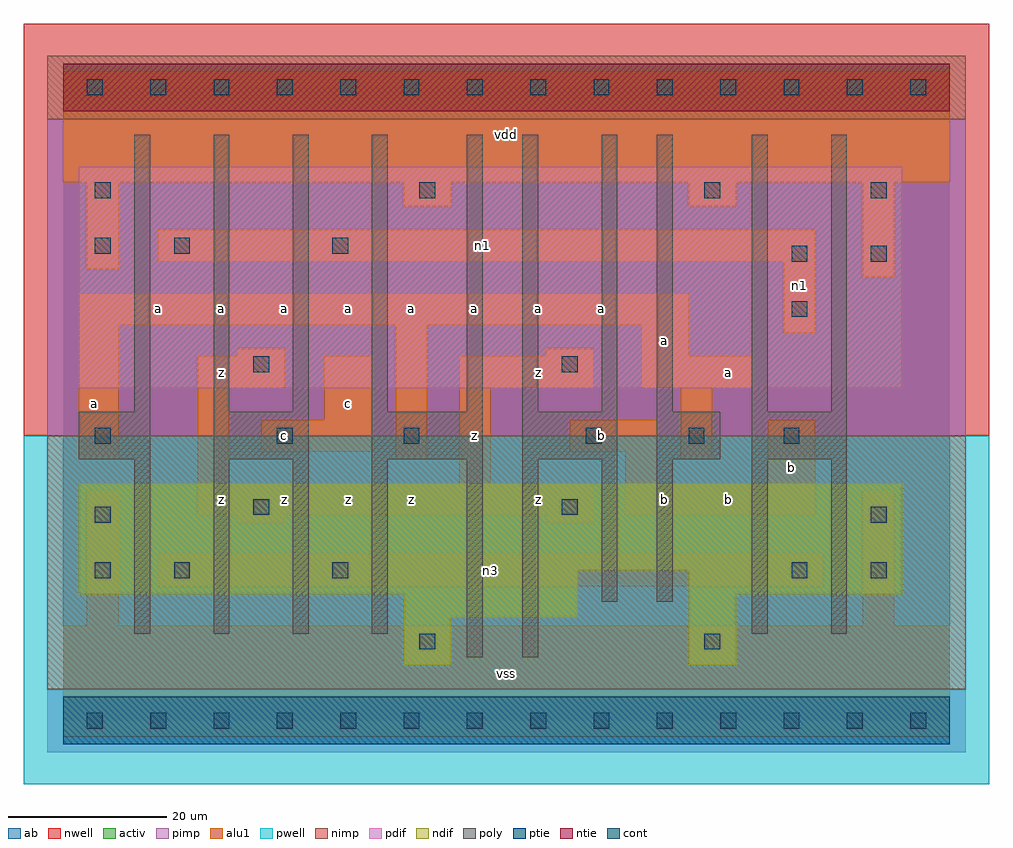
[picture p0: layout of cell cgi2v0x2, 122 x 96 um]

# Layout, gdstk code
import gdstk
lib = gdstk.Library(unit=1e-6, precision=1e-09)
def R(c, l, rs):  # rectangles x0, y0, x1, y1
    for r in rs: c.add(gdstk.rectangle(r[:2], r[2:], *l))
def A(c, l, x, y, w, h, nx, ny, dx, dy):  # array of equal rectangles
    R(c, l, [(x+i*dx, y+j*dy, x+i*dx+w, y+j*dy+h) for i in range(nx) for j in range(ny)])
ndif = (3, 0)
pdif = (4, 0)
ntie = (5, 0)
ptie = (6, 0)
cont = (25, 0)
pwell = (41, 0)
nwell = (42, 0)
activ = (43, 0)
pimp = (44, 0)
nimp = (45, 0)
poly = (46, 0)
alu1 = (49, 0)
ab = (63, 0)

cgi2v0x2 = lib.new_cell('cgi2v0x2')
R(cgi2v0x2, ndif, [(43,7,49,13), (79,7,85,16), (43,13,65,16), (2,16,65,19), (79,16,106,19), (2,19,106,30)])
R(cgi2v0x2, pdif, [(2,42,106,70)])
R(cgi2v0x2, ntie, [(0,77,112,83)])
R(cgi2v0x2, ptie, [(0,-3,112,3)])
A(cgi2v0x2, cont, 3, -1, 2, 2, 14, 2, 8, 80)
R(cgi2v0x2, cont, [(45,9,47,11), (81,9,83,11), (4,18,6,20), (14,18,16,20), (34,18,36,20), (92,18,94,20), (102,18,104,20), (4,25,6,27), (102,25,104,27), (24,26,26,28), (63,26,65,28), (4,35,6,37), (27,35,29,37), (43,35,45,37), (66,35,68,37), (79,35,81,37), (91,35,93,37), (24,44,26,46), (63,44,65,46), (92,51,94,53), (92,58,94,60), (102,58,104,60), (4,59,6,61), (14,59,16,61), (34,59,36,61), (4,66,6,68), (45,66,47,68), (81,66,83,68), (102,66,104,68)])
R(cgi2v0x2, pwell, [(-5,-8,117,36)])
R(cgi2v0x2, nwell, [(-5,36,117,88)])
R(cgi2v0x2, activ, [(0,-3,112,3), (43,7,49,13), (79,7,85,16), (43,13,65,16), (2,16,65,19), (79,16,106,19), (2,19,106,30), (2,42,106,70), (0,77,112,83)])
R(cgi2v0x2, pimp, [(-2,-4,114,4), (-2,36,114,76)])
R(cgi2v0x2, nimp, [(-2,4,114,36), (-2,76,114,84)])
A(cgi2v0x2, poly, 9, 11, 2, 22, 4, 1, 10, 0)
A(cgi2v0x2, poly, 9, 39, 2, 35, 4, 1, 10, 0)
R(cgi2v0x2, poly, [(51,8,53,33), (58,8,60,33), (87,11,89,33), (97,11,99,33), (68,15,70,33), (75,15,77,33), (2,33,11,39), (19,33,31,39), (39,33,53,39), (58,33,70,39), (75,33,83,39), (87,33,99,39), (51,39,53,74), (58,39,60,74), (68,39,70,74), (75,39,77,74), (87,39,89,74), (97,39,99,74)])
R(cgi2v0x2, alu1, [(0,-2,112,12), (3,12,7,29), (101,12,105,29), (12,17,96,21), (22,25,28,26), (61,25,67,26), (17,26,67,30), (71,26,95,30), (17,30,21,42), (50,30,54,42), (71,30,75,34), (89,30,95,38), (2,33,7,50), (42,33,46,50), (78,33,82,42), (25,34,39,38), (64,34,75,38), (33,38,39,46), (17,42,28,46), (50,42,67,46), (73,42,87,46), (22,46,28,47), (61,46,67,47), (73,46,79,50), (91,49,95,58), (2,50,79,54), (101,56,105,68), (3,57,7,68), (12,58,95,62), (43,65,49,68), (79,65,85,68), (0,68,112,82)])
R(cgi2v0x2, ab, [(0,0,112,80)])
cgi2v0x2.add(gdstk.Label('n3', (54,19), layer=49, texttype=0))
cgi2v0x2.add(gdstk.Label('n1', (93,55), layer=49, texttype=0))
cgi2v0x2.add(gdstk.Label('n1', (53,60), layer=49, texttype=0))
cgi2v0x2.add(gdstk.Label('a', (4,40), layer=49, texttype=0))
cgi2v0x2.add(gdstk.Label('a', (12,52), layer=49, texttype=0))
cgi2v0x2.add(gdstk.Label('z', (20,28), layer=49, texttype=0))
cgi2v0x2.add(gdstk.Label('z', (36,28), layer=49, texttype=0))
cgi2v0x2.add(gdstk.Label('z', (28,28), layer=49, texttype=0))
cgi2v0x2.add(gdstk.Label('z', (20,44), layer=49, texttype=0))
cgi2v0x2.add(gdstk.Label('c', (36,40), layer=49, texttype=0))
cgi2v0x2.add(gdstk.Label('c', (28,36), layer=49, texttype=0))
cgi2v0x2.add(gdstk.Label('a', (36,52), layer=49, texttype=0))
cgi2v0x2.add(gdstk.Label('a', (28,52), layer=49, texttype=0))
cgi2v0x2.add(gdstk.Label('a', (20,52), layer=49, texttype=0))
cgi2v0x2.add(gdstk.Label('vss', (56,6), layer=49, texttype=0))
cgi2v0x2.add(gdstk.Label('z', (44,28), layer=49, texttype=0))
cgi2v0x2.add(gdstk.Label('z', (60,28), layer=49, texttype=0))
cgi2v0x2.add(gdstk.Label('z', (60,44), layer=49, texttype=0))
cgi2v0x2.add(gdstk.Label('z', (52,36), layer=49, texttype=0))
cgi2v0x2.add(gdstk.Label('a', (60,52), layer=49, texttype=0))
cgi2v0x2.add(gdstk.Label('a', (52,52), layer=49, texttype=0))
cgi2v0x2.add(gdstk.Label('a', (44,52), layer=49, texttype=0))
cgi2v0x2.add(gdstk.Label('vdd', (56,74), layer=49, texttype=0))
cgi2v0x2.add(gdstk.Label('b', (84,28), layer=49, texttype=0))
cgi2v0x2.add(gdstk.Label('b', (76,28), layer=49, texttype=0))
cgi2v0x2.add(gdstk.Label('b', (68,36), layer=49, texttype=0))
cgi2v0x2.add(gdstk.Label('a', (84,44), layer=49, texttype=0))
cgi2v0x2.add(gdstk.Label('a', (76,48), layer=49, texttype=0))
cgi2v0x2.add(gdstk.Label('a', (68,52), layer=49, texttype=0))
cgi2v0x2.add(gdstk.Label('b', (92,32), layer=49, texttype=0))

lib.write_gds('cgi2v0x2.gds')
